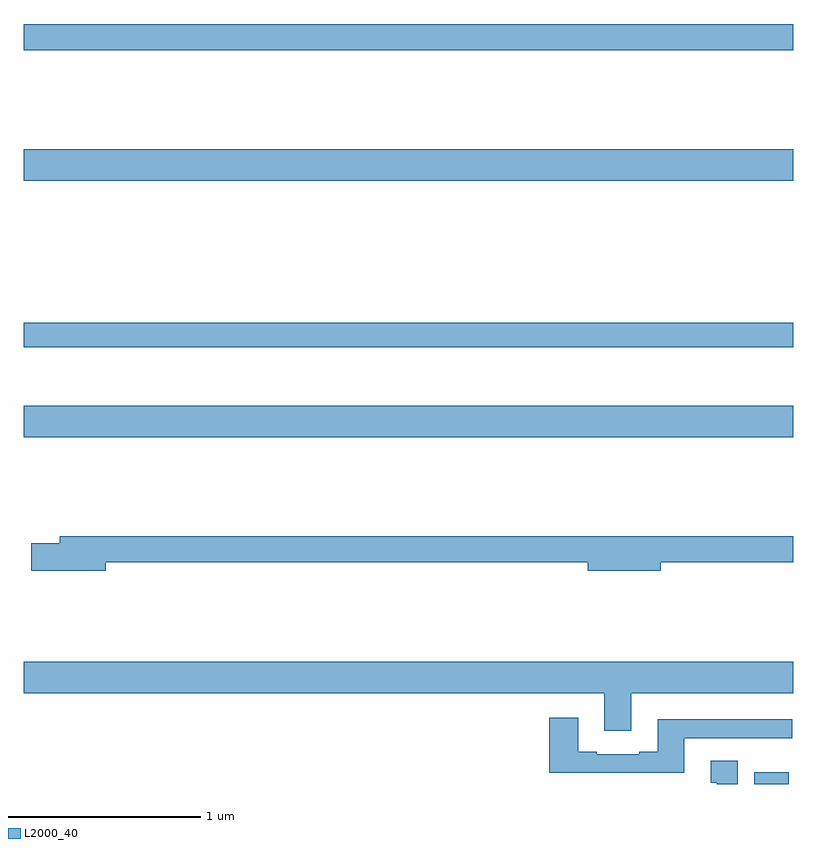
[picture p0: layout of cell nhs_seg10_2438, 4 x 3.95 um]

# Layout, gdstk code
import gdstk
lib = gdstk.Library(unit=1e-6, precision=1e-09)
def R(c, l, rs):  # rectangles x0, y0, x1, y1
    for r in rs: c.add(gdstk.rectangle(r[:2], r[2:], *l))
def P(c, l, *ps):  # polygons
    for p in ps: c.add(gdstk.Polygon(p, *l))
L2000_40 = (2000, 40)

nhs_seg10_2438 = lib.new_cell('nhs_seg10_2438')
R(nhs_seg10_2438, L2000_40, [(244.799,1310.5,244.978,1310.56), (241,1312.304,245,1312.468), (241,1312.77,245,1312.898), (241,1313.636,245,1313.8), (241,1314.316,245,1314.452)])
P(nhs_seg10_2438, L2000_40, [(241.426,1311.652),(243.932,1311.652),(243.932,1311.61),(244.312,1311.61),(244.312,1311.652),(245,1311.652),(245,1311.788),(241.187,1311.788),(241.187,1311.752),(241.038,1311.752),(241.038,1311.61),(241.426,1311.61)],
  [(244.159,1310.972),(245,1310.972),(245,1311.136),(241,1311.136),(241,1310.972),(244.019,1310.972),(244.019,1310.778),(244.159,1310.778)],
  [(244.435,1310.739),(244.996,1310.739),(244.996,1310.836),(244.295,1310.836),(244.295,1310.668),(244.199,1310.668),(244.199,1310.655),(243.979,1310.655),(243.979,1310.668),(243.883,1310.668),(243.883,1310.845),(243.731,1310.845),(243.731,1310.558),(244.435,1310.558)],
  [(244.711,1310.62),(244.571,1310.62),(244.571,1310.507),(244.604,1310.507),(244.604,1310.5),(244.711,1310.5)])

lib.write_gds('nhs_seg10_2438.gds')
